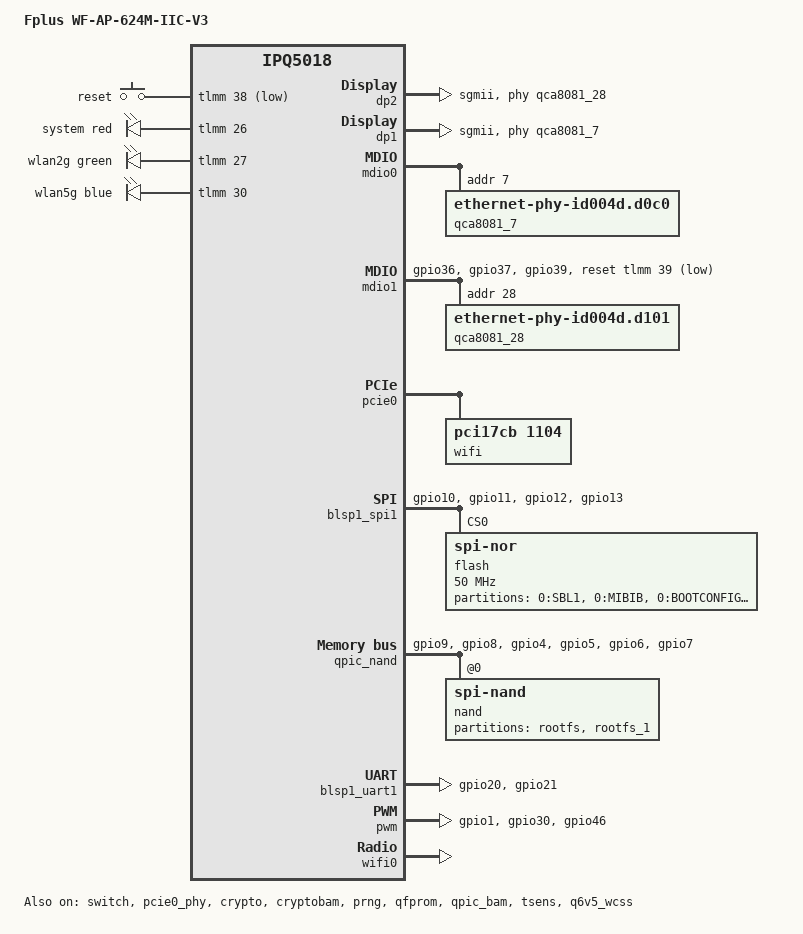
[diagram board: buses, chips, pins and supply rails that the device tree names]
/dts-v1/;

#include "ipq5018.dtsi"
#include "ipq5018-ess.dtsi"
//#include "ipq5018-mx-base.dtsi"

#include <dt-bindings/gpio/gpio.h>
#include <dt-bindings/input/input.h>
#include <dt-bindings/leds/common.h>

/ {
	model = "Fplus WF-AP-624M-IIC-V3";
	compatible = "fplus,wf-ap-624m-iic-v3", "qcom,ipq5018", "mp03.1";

	aliases {
		led-boot = &led_system;
		led-failsafe = &led_system;
		led-running = &led_system;
		led-upgrade = &led_system;
		serial0 = &blsp1_uart1;
		ethernet0 = "/soc/dp1";
		ethernet1 = "/soc/dp2";
	};

	chosen {
		bootargs-append = " root=/dev/ubiblock0_1 coherent_pool=2M";
		stdout-path = "serial0:115200n8";
	};

	keys {
		compatible = "gpio-keys";
		pinctrl-0 = <&button_pins>;
		pinctrl-names = "default";

		reset {
			label = "reset";
			gpios = <&tlmm 38 GPIO_ACTIVE_LOW>;
			linux,code = <KEY_RESTART>;
		};
	};

	reserved-memory {
		q6_mem_regions: q6_mem_regions@4b000000 {
			no-map;
			reg = <0x0 0x4b000000 0x0 0x3000000>;
		};
	};

	leds {
		compatible = "gpio-leds";
		led_system: system {
			color = <LED_COLOR_ID_RED>;
			label = "system";
			function = LED_FUNCTION_STATUS;
			gpios = <&tlmm 26 GPIO_ACTIVE_HIGH>;
		};

		wlan2g {
			color = <LED_COLOR_ID_GREEN>;
			label = "wlan2g";
			function = LED_FUNCTION_WLAN;
			gpios = <&tlmm 27 GPIO_ACTIVE_HIGH>;
		};

		wlan5g {
			color = <LED_COLOR_ID_BLUE>;
			label = "wlan5g";
			function = LED_FUNCTION_WLAN;
			gpios = <&tlmm 30 GPIO_ACTIVE_HIGH>;
		};
	};
};

&sleep_clk {
	 clock-frequency = <32000>;
};

&xo_board_clk {
	clock-frequency = <24000000>;
};

&switch {
	status = "okay";
	switch_mac_mode = <MAC_MODE_SGMII_CHANNEL0>;

	qcom,port_phyinfo {
		port@0 {
			port_id = <1>;
			mdiobus = <&mdio0>;
			phy_address = <7>;
		};

		port@1 {
			port_id = <2>;
			mdiobus = <&mdio1>;
			phy_address = <28>;
		};
	};
};

&dp2 {
	status = "okay";
	phy-mode = "sgmii";
	mdio-bus = <&mdio1>;
	phy-handle = <&qca8081_28>;
	label = "wan";
};

&dp1 {
	status = "okay";
	phy-mode = "sgmii";
	mdio-bus = <&mdio0>;
	phy-handle = <&qca8081_7>;
	label = "lan";
};

&mdio0 {
	status = "okay";
	qca8081_7: ethernet-phy@7 {
		compatible = "ethernet-phy-id004d.d0c0";
		reg = <7>;
	};
};

&mdio1 {
	status = "okay";
	pinctrl-0 = <&mdio1_pins &mdio1_rst_pin>;
	pinctrl-names = "default";
	reset-gpios = <&tlmm 39 GPIO_ACTIVE_LOW>;

	qca8081_28: ethernet-phy@28 {
		compatible = "ethernet-phy-id004d.d101";
		reg = <28>;
	};
};

&pcie0_phy {
	status = "okay";
};

&pcie0 {
	status = "okay";
	perst-gpios = <&tlmm 15 GPIO_ACTIVE_LOW>;

	pcie@0 {
		wifi@0,0 {
			status = "okay";

			/* QCN9074: ath11k lacks DT compatible for PCI cards */
			compatible = "pci17cb,1104";
			reg = <0x00010000 0 0 0 0>;
			qcom,ath11k-fw-memory-mode = <1>;
			qcom,ath11k-calibration-variant = "fplus-wf-ap-624m-iic-v3";
		};
	};
};

&tlmm {
	mdio1_pins: mdio-state {
		mdc-pins {
			pins = "gpio36";
			function = "mdc";
			drive-strength = <8>;
			bias-pull-up;
		};

		mdio-pins {
			pins = "gpio37";
			function = "mdio";
			drive-strength = <8>;
			bias-pull-up;
		};
	};

	mdio1_rst_pin: mdio1-rst-state {
		pins = "gpio39";
		function = "gpio";
		bias-disable;
		drive-strength = <8>;
	};

	pwm_pins: pwm-state {
		mux_1 {
			pins = "gpio1";
			function = "pwm1";
			drive-strength = <8>;
		};

		mux_2 {
			pins = "gpio30";
			function = "pwm3";
			drive-strength = <8>;
		};

		mux_3 {
			pins = "gpio46";
			function = "pwm0";
			drive-strength = <8>;
		};
	};

	button_pins: button-state {
		pins = "gpio38";
		function = "gpio";
		drive-strength = <8>;
		bias-pull-up;
	};

	serial_0_pins: uart0-state {
		pins = "gpio20", "gpio21";
		function = "blsp0_uart0";
		bias-disable;
	};

	blsp0_spi_pins: blsp0-spi-pins {
		pins = "gpio10", "gpio11", "gpio12", "gpio13";
		function = "blsp0_spi";
		drive-strength = <8>;
		bias-disable;
	};

	qpic_pins: qpic-state {
		clock-pins {
			pins = "gpio9";
			function = "qspi_clk";
			drive-strength = <8>;
			bias-disable;
		};

		cs-pins {
			pins = "gpio8";
			function = "qspi_cs";
			drive-strength = <8>;
			bias-disable;
		};

		data-pins {
			pins = "gpio4", "gpio5", "gpio6", "gpio7";
			function = "qspi_data";
			drive-strength = <8>;
			bias-disable;
		};
	};
};

&blsp1_spi1 {
	status = "okay";
	pinctrl-0 = <&blsp0_spi_pins>;
	pinctrl-names = "default";
	flash@0 {
		#address-cells = <1>;
		#size-cells = <1>;
		reg = <0>;
		compatible = "jedec,spi-nor", "w25q128fw";
		linux,modalias = "m25p80", "w25q128fw";
		spi-max-frequency = <50000000>;
		use-default-sizes;

		partitions {
			compatible = "fixed-partitions";

			partition@0 {
				reg = <0x00000000 0x00030000>;
				label = "0:SBL1";
			};

			partition@1 {
				reg = <0x00030000 0x00010000>;
				label = "0:MIBIB";
			};

			partition@2 {
				reg = <0x00040000 0x00010000>;
				label = "0:BOOTCONFIG";
			};

			partition@3 {
				reg = <0x00050000 0x00010000>;
				label = "0:BOOTCONFIG1";
			};

			partition@4 {
				reg = <0x00060000 0x000a0000>;
				label = "0:QSEE";
			};

			partition@5 {
				reg = <0x00100000 0x000a0000>;
				label = "0:QSEE_1";
			};

			partition@6 {
				reg = <0x001a0000 0x00010000>;
				label = "0:DEVCFG";
			};

			partition@7 {
				reg = <0x001b0000 0x00010000>;
				label = "0:DEVCFG_1";
			};

			partition@8 {
				reg = <0x001c0000 0x00010000>;
				label = "0:CDT";
			};

			partition@9 {
				reg = <0x001d0000 0x00010000>;
				label = "0:CDT_1";
			};

			partition@10 {
				reg = <0x001e0000 0x00010000>;
				label = "0:APPSBLENV";
			};

			partition@11 {
				reg = <0x001f0000 0x000a0000>;
				label = "0:APPSBL";
			};

			partition@12 {
				reg = <0x00290000 0x000a0000>;
				label = "0:APPSBL_1";
			};

			partition@330000 {
				label = "0:ART";
				reg = <0x330000 0x70000>;
				read-only;

				nvmem-layout {
					compatible = "fixed-layout";
					#address-cells = <1>;
					#size-cells = <1>;

					hw_mac_addr: hw_mac_addr {
						#nvmem-cell-cells = <1>;
						compatible = "mac-base";
						reg = <0x0 0x6>;
					};
				};
			};
		};
	};
};

&qpic_nand {
	pinctrl-0 = <&qpic_pins>;
	pinctrl-names = "default";
	status = "okay";

	partitions {
		status = "disabled";
	};

	nand@0 {
		compatible = "spi-nand";
		reg = <0>;
		#address-cells = <1>;
		#size-cells = <1>;
		nand-ecc-engine = <&qpic_nand>;
		nand-ecc-strength = <4>;
		nand-ecc-step-size = <512>;
		nand-bus-width = <8>;

		partitions {
			compatible = "fixed-partitions";
			#address-cells = <1>;
			#size-cells = <1>;

			partition@1 {
				label = "rootfs";
				reg = <0x00080000 0x03e00000>;
			};

			partition@2 {
				label = "rootfs_1";
				reg = <0x03e80000 0x03e00000>;
			};

		};
	};
};

&blsp1_uart1 {
	status = "okay";
	pinctrl-0 = <&serial_0_pins>;
	pinctrl-names = "default";
};

&crypto {
	status = "okay";
};

&cryptobam {
	status = "okay";
};

&prng {
	status = "okay";
};

&pwm {
	status = "okay";
	#pwm-cells = <2>;
	pinctrl-0 = <&pwm_pins>;
	pinctrl-names = "default";
};

&qfprom {
	status = "okay";
};

&qpic_bam {
	status = "okay";
};

&tsens {
	status = "okay";
};

&q6v5_wcss {
	status = "okay";
	memory-region = <&q6_mem_regions>;
	firmware-name = "ath11k/IPQ5018/hw1.0/q6_fw.mdt", "ath11k/IPQ5018/hw1.0/m3_fw.mdt";

	//IPQ5018
	q6_wcss_pd1: pd-1 {
		firmware-name = "ath11k/IPQ5018/hw1.0/q6_fw.mdt";

		resets =
			<&gcc GCC_WCSSAON_RESET>,
			<&gcc GCC_WCSS_BCR>,
			<&gcc GCC_CE_BCR>;
		reset-names =
			"wcss_aon_reset",
			"wcss_reset",
			"ce_reset";

		clocks =
			<&gcc GCC_WCSS_AHB_S_CLK>,
			<&gcc GCC_WCSS_ACMT_CLK>,
			<&gcc GCC_WCSS_AXI_M_CLK>;
		clock-names =
			"gcc_wcss_ahb_s_clk",
			"gcc_wcss_acmt_clk",
			"gcc_wcss_axi_m_clk";

		interrupts-extended =
			<&wcss_smp2p_in 8 0>,
			<&wcss_smp2p_in 9 0>,
			<&wcss_smp2p_in 12 0>,
			<&wcss_smp2p_in 11 0>;
		interrupt-names =
			"fatal",
			"ready",
			"spawn-ack",
			"stop-ack";

		qcom,smem-states =
			<&wcss_smp2p_out 8>,
			<&wcss_smp2p_out 9>,
			<&wcss_smp2p_out 10>;
		qcom,smem-state-names =
			"shutdown",
			"stop",
			"spawn";
	};
};

&wifi0 {
	//IPQ5018
	qcom,rproc = <&q6_wcss_pd1>;
	qcom,ath11k-calibration-variant = "fplus-wf-ap-624m-iic-v3";
	qcom,ath11k-fw-memory-mode = <1>;
	qcom,bdf-addr = <0x4c400000>;

	status = "okay";
};


